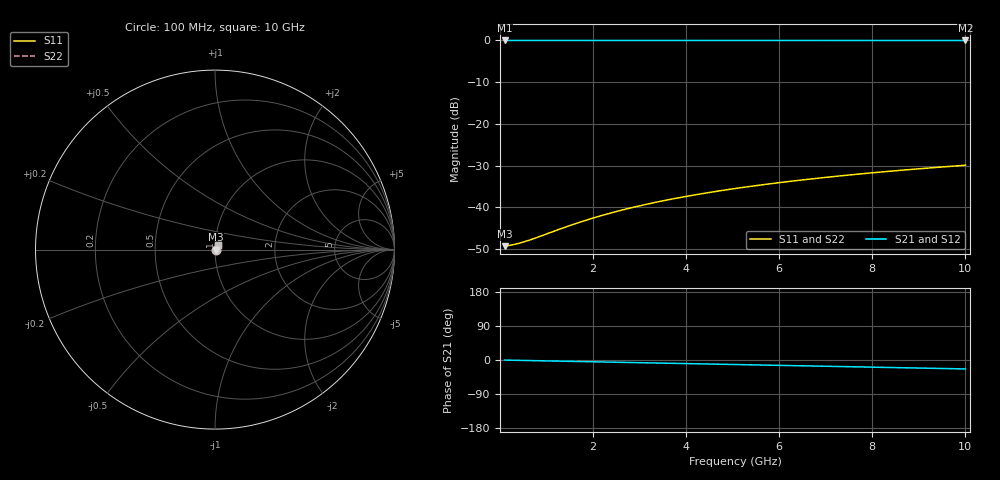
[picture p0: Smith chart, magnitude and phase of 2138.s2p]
# Hz S RI R 50.00
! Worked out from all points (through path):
!   100 points, 100 MHz to 10 GHz, reference 50 ohm
!   highest |S21| = -0.03 dB at 100 MHz (marker M1); lowest = 0.0 dB at 10 GHz (marker M2)
!   group delay of S21, straight-line fit = 6.56 ps
!   lowest |S11| = -49.3 dB at 100 MHz (marker M3), VSWR 1.01, Z = 50.3 + j0.0317 ohm
!   |S11| at or under -10 dB: start of sweep to end of sweep
!   |S22| runs from -49.3 to -29.9 dB; largest |S21 - S12| = 0
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1e8  0.00343 0.000315  0.9966 -0.0041  0.9966 -0.0041  0.00343 0.000315
2e8  0.00345 0.000629  0.9965 -0.0082  0.9965 -0.0082  0.00345 0.000629
3e8  0.00347 0.000943  0.9965 -0.0123  0.9965 -0.0123  0.00347 0.000943
4e8  0.00349 0.00126  0.9964 -0.0164  0.9964 -0.0164  0.00349 0.00126
6e8  0.00354 0.00188  0.9962 -0.0246  0.9962 -0.0246  0.00354 0.00188
8e8  0.00359 0.00251  0.9959 -0.0328  0.9959 -0.0328  0.00359 0.00251
1.4e9  0.00379 0.00439  0.9947 -0.0574  0.9947 -0.0574  0.00379 0.00439
1.8e9  0.00398 0.00563  0.9936 -0.0738  0.9936 -0.0738  0.00398 0.00563
2.2e9  0.0042 0.00686  0.9922 -0.0901  0.9922 -0.0901  0.0042 0.00686
2.6e9  0.00446 0.00809  0.9906 -0.1064  0.9906 -0.1064  0.00446 0.00809
3e9  0.00476 0.00931  0.9887 -0.1227  0.9887 -0.1227  0.00476 0.00931
3.4e9  0.0051 0.0105  0.9865 -0.139  0.9865 -0.139  0.0051 0.0105
3.8e9  0.00548 0.0117  0.984 -0.1552  0.984 -0.1552  0.00548 0.0117
4.2e9  0.0059 0.0129  0.9813 -0.1714  0.9813 -0.1714  0.0059 0.0129
4.6e9  0.00636 0.0141  0.9783 -0.1875  0.9783 -0.1875  0.00636 0.0141
5.1e9  0.00699 0.0155  0.9742 -0.2076  0.9742 -0.2076  0.00699 0.0155
5.9e9  0.00812 0.0177  0.9667 -0.2396  0.9667 -0.2396  0.00812 0.0177
6.7e9  0.00939 0.0199  0.9582 -0.2714  0.9582 -0.2714  0.00939 0.0199
7.5e9  0.0108 0.0219  0.9486 -0.3028  0.9486 -0.3028  0.0108 0.0219
8.4e9  0.0125 0.0241  0.9366 -0.3378  0.9366 -0.3378  0.0125 0.0241
9.2e9  0.0142 0.026  0.9248 -0.3684  0.9248 -0.3684  0.0142 0.026
1e10  0.016 0.0277  0.9121 -0.3987  0.9121 -0.3987  0.016 0.0277
